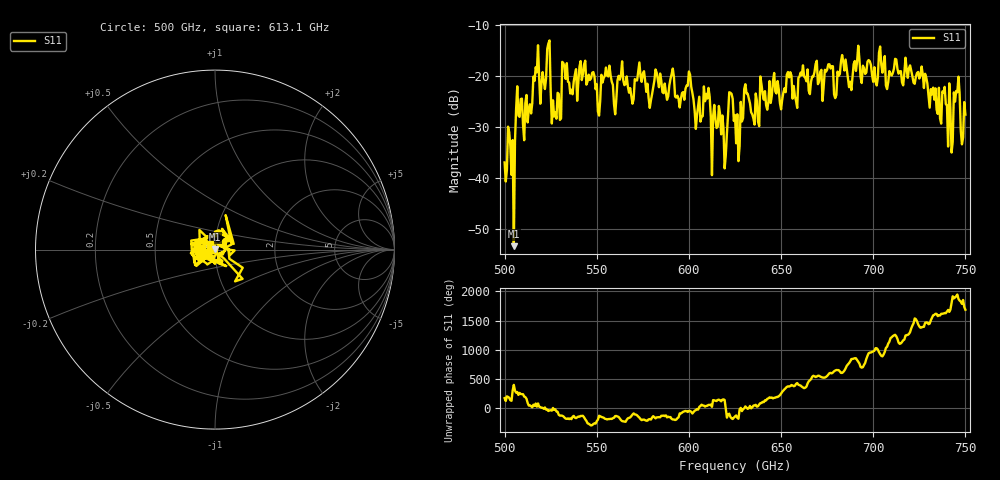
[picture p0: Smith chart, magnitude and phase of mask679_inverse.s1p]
!Created with skrf (http://scikit-rf.org).
# GHz S MA R 50.0
!freq magS11 angS11
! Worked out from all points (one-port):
!   401 points, 500 GHz to 750 GHz, reference 50 ohm
!   lowest |S11| = -53.4 dB at 505 GHz (marker M1), VSWR 1.00, Z = 50.2 + j0.114 ohm
!   |S11| at or under -10 dB: start of sweep to end of sweep
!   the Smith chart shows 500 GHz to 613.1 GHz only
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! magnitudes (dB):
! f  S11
! 500 GHz  -36.9
! 505 GHz  -53.4
! 507.5 GHz  -27.7
! 513.8 GHz  -25.5
! 516.9 GHz  -18.3
! 520.6 GHz  -19.2
! 523.8 GHz  -13.6
! 526.9 GHz  -27.9
! 531.2 GHz  -17.2
! 542.5 GHz  -19.6
! 550.6 GHz  -27.0
! 562.5 GHz  -20.7
! 593.8 GHz  -23.8
! 609.4 GHz  -23.5
! 618.8 GHz  -30.3
! 622.5 GHz  -23.3
! 625 GHz  -27.6
! 656.2 GHz  -24.4
! 676.9 GHz  -18.5
! 680 GHz  -23.7
! 683.8 GHz  -17.2
! 687.5 GHz  -21.1
! 691.2 GHz  -17.1
! 718.8 GHz  -20.3
! 738.8 GHz  -22.1
! 741.9 GHz  -26.6
! 745 GHz  -22.9
! 750 GHz  -27.6
